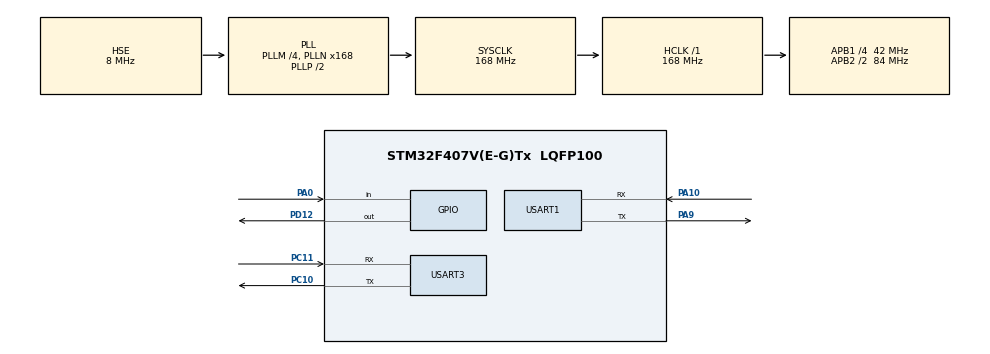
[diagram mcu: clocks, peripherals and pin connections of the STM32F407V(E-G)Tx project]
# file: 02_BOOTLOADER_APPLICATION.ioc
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Mcu.Family=STM32F4
Mcu.Name=STM32F407V(E-G)Tx
Mcu.Package=LQFP100
NVIC.PriorityGroup=NVIC_PRIORITYGROUP_4
PA0-WKUP.Signal=GPIO_Input
PA10.Mode=Asynchronous
PA10.Signal=USART1_RX
PA9.Mode=Asynchronous
PA9.Signal=USART1_TX
PC10.Mode=Asynchronous
PC10.Signal=USART3_TX
PC11.Mode=Asynchronous
PC11.Signal=USART3_RX
PD12.Signal=GPIO_Output
PH0-OSC_IN.Mode=HSE-External-Oscillator
PH0-OSC_IN.Signal=RCC_OSC_IN
PH1-OSC_OUT.Mode=HSE-External-Oscillator
PH1-OSC_OUT.Signal=RCC_OSC_OUT
ProjectManager.HeapSize=0x200
ProjectManager.StackSize=0x400
ProjectManager.TargetToolchain=STM32CubeIDE
RCC.48MHZClocksFreq_Value=84000000
RCC.AHBFreq_Value=168000000
RCC.APB1CLKDivider=RCC_HCLK_DIV4
RCC.APB1Freq_Value=42000000
RCC.APB1TimFreq_Value=84000000
RCC.APB2CLKDivider=RCC_HCLK_DIV2
RCC.APB2Freq_Value=84000000
RCC.APB2TimFreq_Value=168000000
RCC.CortexFreq_Value=168000000
RCC.HCLKFreq_Value=168000000
RCC.HSE_VALUE=8000000
RCC.HSIState-ClockTree=RCC_HSI_OFF
RCC.HSI_VALUE=16000000
RCC.LSE_VALUE=32768
RCC.PLLM=4
RCC.PLLN=168
RCC.PLLSourceVirtual=RCC_PLLSOURCE_HSE
RCC.RNGEnable-ClockTree=false
RCC.SYSCLKFreq_VALUE=168000000
RCC.SYSCLKSource=RCC_SYSCLKSOURCE_PLLCLK
RCC.VCOOutputFreq_Value=336000000
USART1.VirtualMode=VM_ASYNC
USART3.VirtualMode=VM_ASYNC
VP_CRC_VS_CRC.Mode=CRC_Activate
board=custom

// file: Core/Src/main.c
/* USER CODE BEGIN Header */
/**
  ******************************************************************************
  * @file           : main.c
  * @brief          : Main program body
  ******************************************************************************
  * @attention
  *
  * Copyright (c) 2022 STMicroelectronics.
  * All rights reserved.
  *
  * This software is licensed under terms that can be found in the LICENSE file
  * in the root directory of this software component.
  * If no LICENSE file comes with this software, it is provided AS-IS.
  *
  ******************************************************************************
  */
/* USER CODE END Header */
#include "main.h"

/* USER CODE BEGIN Includes */

#include "stdarg.h"
#include "string.h"
#include "bootloader_command_code.h"
#include "bootloader_command_app.h"

/* USER CODE END Includes */

/* USER CODE BEGIN PD */

#define DEBUG_UART &huart3
#define FLASH_SECTOR2_BASE_ADDRESS 0x08008000

#define BL_RX_DATA_LENGHT 266
#define HAL__UART_MAX_DELAY 1000

/* USER CODE END PD */

CRC_HandleTypeDef hcrc;

UART_HandleTypeDef huart1;
UART_HandleTypeDef huart3;

void SystemClock_Config(void);
static void MX_GPIO_Init(void);
static void MX_CRC_Init(void);
static void MX_USART1_UART_Init(void);
static void MX_USART3_UART_Init(void);

/* USER CODE BEGIN 0 */

uint8_t bootloader_rx_data[BL_RX_DATA_LENGHT];

void printMessage(char *format,...)
{
	char comingMessage[100];
	va_list vaList;
	va_start(vaList,format);
	vsprintf(comingMessage, format, vaList);
	HAL_UART_Transmit(DEBUG_UART, (uint8_t*)comingMessage, strlen(comingMessage), HAL__UART_MAX_DELAY);
    va_end(vaList);
}

void bootloader_uart_read_data(){

	uint8_t bl_rx_lenght=0;

	while(1){

		memset(bootloader_rx_data,0,BL_RX_DATA_LENGHT);
		HAL_UART_Receive(&huart3,bootloader_rx_data, 1, HAL__UART_MAX_DELAY);
		bl_rx_lenght=bootloader_rx_data[0];
		HAL_UART_Receive(&huart3,&bootloader_rx_data[1], bl_rx_lenght, HAL__UART_MAX_DELAY);

		switch(bootloader_rx_data[1]){
		case BL_GET_VER :
			bootloader_get_ver_cmd(bootloader_rx_data);
			break;
		case BL_GET_HELP :
			bootloader_get_help(bootloader_rx_data);
			break;
		case BL_GET_CID :
			bootloader_get_cid(bootloader_rx_data);
			break;
		case BL_GET_RDP_STATUS :
			bootloader_get_rdp_cmd(bootloader_rx_data);
			break;
		case BL_GO_TO_ADDR :
			bootloader_go_to_addr(bootloader_rx_data);
			break;
		case BL_FLASH_ERASE :
			bootloader_flash_erase(bootloader_rx_data);
			break;
		case BL_MEM_WRITE :
			bootloader_mem_write_cmd(bootloader_rx_data);
			break;
		case BL_EN_RW_PROTECT :
			bootloader_enable_rw_protect(bootloader_rx_data);
			break;
		case BL_DIS_R_W_PROTECT :
			bootloader_disable_rw_protect(bootloader_rx_data);
			break;
		default:
			break;
		}

	}
  }

void bootloader_jump_to_user_app(){

	// 1- Sifirlama isleyicisinin adresini tutan bir fonksiyon gÃ¶stericisi

	void (*bootloader_application_reset_handler)(void);
	// 2- Kullanici uygulamasina atlama kodu Ã§agrildi

	printMessage("BL DEBUG MSG: Called bootloader_jump_to_user_application() \n");

	// 3- MSP'nin degerini tut

	uint32_t mspValue = *(volatile uint32_t*) FLASH_SECTOR2_BASE_ADDRESS;
	printMessage("BL DEBUG MSG: MSP Value: %#x \n", mspValue);
	__set_MSP(mspValue);

	// 4- Sifirlama isleyicisinin degerini tut

	uint32_t resetValue = *(volatile uint32_t*) (FLASH_SECTOR2_BASE_ADDRESS + 4);
	printMessage("BL DEBUG MSG: Reset Value: %#x \n", resetValue);
	// 5- Sifirlama isleyicisi ile bir islev baslat

	bootloader_application_reset_handler = (void*) resetValue;
	// 6- Sifirlama isleyicisini Ã§agir ve kullanici uygulamasina atla

	bootloader_application_reset_handler();
}

/* USER CODE END 0 */

int main(void)
{

  /* MCU Configuration--------------------------------------------------------*/

  /* Reset of all peripherals, Initializes the Flash interface and the Systick. */
  HAL_Init();

  /* Configure the system clock */
  SystemClock_Config();

  /* Initialize all configured peripherals */
  MX_GPIO_Init();
  MX_CRC_Init();
  MX_USART1_UART_Init();
  MX_USART3_UART_Init();
  /* USER CODE BEGIN 2 */

  if(HAL_GPIO_ReadPin(GPIOA, GPIO_PIN_0)==GPIO_PIN_SET){
	  printMessage("button is pressed go to BL code");
	  bootloader_uart_read_data();

  }else{
	  printMessage("button is Not pressed go to user code");
	  bootloader_jump_to_user_app();
  }
  /* USER CODE END 2 */

  /* Infinite loop */
  while (1)
  {

    /* USER CODE BEGIN 3 */
	  HAL_GPIO_TogglePin(GPIOD, GPIO_PIN_12);
	  HAL_Delay(500);
	  HAL_UART_Transmit(&huart3, "samed\r\n", 7, 100);
	  printMessage("baskin\r\n");

  }
  /* USER CODE END 3 */
}

void SystemClock_Config(void)
{
  RCC_OscInitTypeDef RCC_OscInitStruct = {0};
  RCC_ClkInitTypeDef RCC_ClkInitStruct = {0};

  /** Configure the main internal regulator output voltage
  */
  __HAL_RCC_PWR_CLK_ENABLE();
  __HAL_PWR_VOLTAGESCALING_CONFIG(PWR_REGULATOR_VOLTAGE_SCALE1);
  /** Initializes the RCC Oscillators according to the specified parameters
  * in the RCC_OscInitTypeDef structure.
  */
  RCC_OscInitStruct.OscillatorType = RCC_OSCILLATORTYPE_HSE;
  RCC_OscInitStruct.HSEState = RCC_HSE_ON;
  RCC_OscInitStruct.PLL.PLLState = RCC_PLL_ON;
  RCC_OscInitStruct.PLL.PLLSource = RCC_PLLSOURCE_HSE;
  RCC_OscInitStruct.PLL.PLLM = 4;
  RCC_OscInitStruct.PLL.PLLN = 168;
  RCC_OscInitStruct.PLL.PLLP = RCC_PLLP_DIV2;
  RCC_OscInitStruct.PLL.PLLQ = 4;
  if (HAL_RCC_OscConfig(&RCC_OscInitStruct) != HAL_OK)
  {
    Error_Handler();
  }
  /** Initializes the CPU, AHB and APB buses clocks
  */
  RCC_ClkInitStruct.ClockType = RCC_CLOCKTYPE_HCLK|RCC_CLOCKTYPE_SYSCLK
                              |RCC_CLOCKTYPE_PCLK1|RCC_CLOCKTYPE_PCLK2;
  RCC_ClkInitStruct.SYSCLKSource = RCC_SYSCLKSOURCE_PLLCLK;
  RCC_ClkInitStruct.AHBCLKDivider = RCC_SYSCLK_DIV1;
  RCC_ClkInitStruct.APB1CLKDivider = RCC_HCLK_DIV4;
  RCC_ClkInitStruct.APB2CLKDivider = RCC_HCLK_DIV2;

  if (HAL_RCC_ClockConfig(&RCC_ClkInitStruct, FLASH_LATENCY_5) != HAL_OK)
  {
    Error_Handler();
  }
}

static void MX_CRC_Init(void)
{

  hcrc.Instance = CRC;
  if (HAL_CRC_Init(&hcrc) != HAL_OK)
  {
    Error_Handler();
  }

}

static void MX_USART1_UART_Init(void)
{

  huart1.Instance = USART1;
  huart1.Init.BaudRate = 115200;
  huart1.Init.WordLength = UART_WORDLENGTH_8B;
  huart1.Init.StopBits = UART_STOPBITS_1;
  huart1.Init.Parity = UART_PARITY_NONE;
  huart1.Init.Mode = UART_MODE_TX_RX;
  huart1.Init.HwFlowCtl = UART_HWCONTROL_NONE;
  huart1.Init.OverSampling = UART_OVERSAMPLING_16;
  if (HAL_UART_Init(&huart1) != HAL_OK)
  {
    Error_Handler();
  }

}

static void MX_USART3_UART_Init(void)
{

  huart3.Instance = USART3;
  huart3.Init.BaudRate = 115200;
  huart3.Init.WordLength = UART_WORDLENGTH_8B;
  huart3.Init.StopBits = UART_STOPBITS_1;
  huart3.Init.Parity = UART_PARITY_NONE;
  huart3.Init.Mode = UART_MODE_TX_RX;
  huart3.Init.HwFlowCtl = UART_HWCONTROL_NONE;
  huart3.Init.OverSampling = UART_OVERSAMPLING_16;
  if (HAL_UART_Init(&huart3) != HAL_OK)
  {
    Error_Handler();
  }

}

static void MX_GPIO_Init(void)
{
  GPIO_InitTypeDef GPIO_InitStruct = {0};

  /* GPIO Ports Clock Enable */
  __HAL_RCC_GPIOH_CLK_ENABLE();
  __HAL_RCC_GPIOA_CLK_ENABLE();
  __HAL_RCC_GPIOD_CLK_ENABLE();
  __HAL_RCC_GPIOC_CLK_ENABLE();

  /*Configure GPIO pin Output Level */
  HAL_GPIO_WritePin(GPIOD, GPIO_PIN_12, GPIO_PIN_RESET);

  /*Configure GPIO pin : PA0 */
  GPIO_InitStruct.Pin = GPIO_PIN_0;
  GPIO_InitStruct.Mode = GPIO_MODE_INPUT;
  GPIO_InitStruct.Pull = GPIO_NOPULL;
  HAL_GPIO_Init(GPIOA, &GPIO_InitStruct);

  /*Configure GPIO pin : PD12 */
  GPIO_InitStruct.Pin = GPIO_PIN_12;
  GPIO_InitStruct.Mode = GPIO_MODE_OUTPUT_PP;
  GPIO_InitStruct.Pull = GPIO_NOPULL;
  GPIO_InitStruct.Speed = GPIO_SPEED_FREQ_LOW;
  HAL_GPIO_Init(GPIOD, &GPIO_InitStruct);

}

void Error_Handler(void)
{
  __disable_irq();
  while (1)
  {
  }
}
